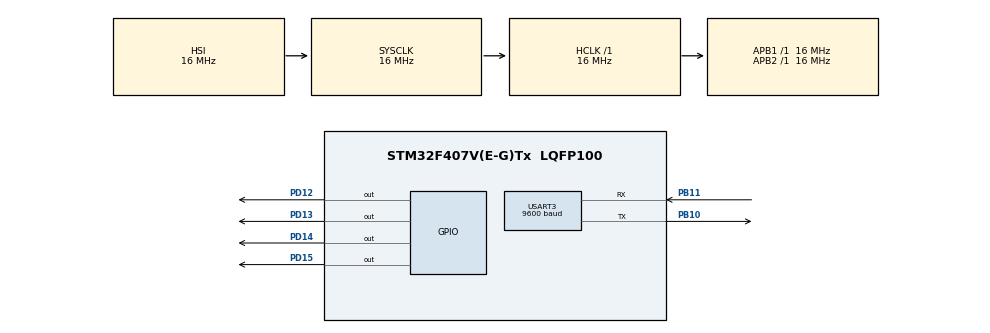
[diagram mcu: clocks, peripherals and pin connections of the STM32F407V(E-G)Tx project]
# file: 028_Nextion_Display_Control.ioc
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Mcu.Family=STM32F4
Mcu.Name=STM32F407V(E-G)Tx
Mcu.Package=LQFP100
NVIC.PriorityGroup=NVIC_PRIORITYGROUP_4
NVIC.TIM1_UP_TIM10_IRQn=true\:0\:0\:false\:false\:true\:true\:true\:true
NVIC.USART3_IRQn=true\:0\:0\:false\:false\:true\:true\:true\:true
PB10.Mode=Asynchronous
PB10.Signal=USART3_TX
PB11.Mode=Asynchronous
PB11.Signal=USART3_RX
PD12.Signal=GPIO_Output
PD13.Signal=GPIO_Output
PD14.Signal=GPIO_Output
PD15.Signal=GPIO_Output
ProjectManager.HeapSize=0x200
ProjectManager.StackSize=0x400
ProjectManager.TargetToolchain=STM32CubeIDE
RCC.AHBFreq_Value=16000000
RCC.APB1Freq_Value=16000000
RCC.APB2Freq_Value=16000000
RCC.CortexFreq_Value=16000000
RCC.HSE_VALUE=25000000
RCC.HSI_VALUE=16000000
RCC.LSE_VALUE=32768
RCC.SYSCLKFreq_VALUE=16000000
RCC.VCOOutputFreq_Value=192000000
TIM10.Period=999
TIM10.Prescaler=15
USART3.BaudRate=9600
USART3.VirtualMode=VM_ASYNC
VP_TIM10_VS_ClockSourceINT.Mode=Enable_Timer
board=custom

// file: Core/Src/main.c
/* USER CODE BEGIN Header */
/**
  ******************************************************************************
  * @file           : main.c
  * @brief          : Main program body
  ******************************************************************************
  * @attention
  *
  * Copyright (c) 2026 STMicroelectronics.
  * All rights reserved.
  *
  * This software is licensed under terms that can be found in the LICENSE file
  * in the root directory of this software component.
  * If no LICENSE file comes with this software, it is provided AS-IS.
  *
  ******************************************************************************
  */
/* USER CODE END Header */
#include "main.h"

/* USER CODE BEGIN Includes */
#include "software_timer.h"
#include "uart_ex.h"
#include "nextion_display_control.h"
/* USER CODE END Includes */

TIM_HandleTypeDef htim10;

UART_HandleTypeDef huart3;

/* USER CODE BEGIN PV */
UART_Ex_t uart3;
Circular_Buffer_t uartCbIn;
Circular_Buffer_t uartCbOut;

STimer_t sTime_1s;
uint8_t sec, min, hour;

Nextion_t nextionDisplay;

/* USER CODE END PV */

void SystemClock_Config(void);
static void MX_GPIO_Init(void);
static void MX_TIM10_Init(void);
static void MX_USART3_UART_Init(void);

int main(void)
{

  /* MCU Configuration--------------------------------------------------------*/

  /* Reset of all peripherals, Initializes the Flash interface and the Systick. */
  HAL_Init();

  /* Configure the system clock */
  SystemClock_Config();

  /* Initialize all configured peripherals */
  MX_GPIO_Init();
  MX_TIM10_Init();
  MX_USART3_UART_Init();
  /* USER CODE BEGIN 2 */
  Software_Timer_Init(&htim10);
  Software_Timer_Set_Time(&sTime_1s, 1000);

  UARTx_Initialization(&uart3, &huart3, &uartCbIn, &uartCbOut);

  Nextion_Init(&nextionDisplay, &uart3);

  Nextion_Send_String(&nextionDisplay, "g0", "BTK Akademiye bu egitim icin tesekkur ederiz!...");

  /* USER CODE END 2 */

  /* Infinite loop */
  while (1)
  {

    /* USER CODE BEGIN 3 */

	  Nextion_Process(&nextionDisplay);

	  if(nextionDisplay.newData)
	  {
		  static uint8_t ledState = 0;

		  if(nextionDisplay.touchEvent.eventType == 1)  // Push / Press
		  {
			  switch(nextionDisplay.touchEvent.componentID)
			  {
			  case 2: // Button 1
				  HAL_GPIO_TogglePin(GPIOD, GPIO_PIN_12);

				  if(HAL_GPIO_ReadPin(GPIOD, GPIO_PIN_12))
					  ledState |= 1 << 0;
				  else
					  ledState &= ~(1 << 0);

				break;

				// __ __ __ __ __ __ __ __
				// 0  0  0  0  4  3  2  1

			  case 3: // Button 2
				  HAL_GPIO_TogglePin(GPIOD, GPIO_PIN_13);

				  if(HAL_GPIO_ReadPin(GPIOD, GPIO_PIN_13))
					  ledState |= 1 << 1;
				  else
					  ledState &= ~(1 << 1);

				break;

			  case 4: // Button 3
				  HAL_GPIO_TogglePin(GPIOD, GPIO_PIN_14);

				  if(HAL_GPIO_ReadPin(GPIOD, GPIO_PIN_14))
					  ledState |= 1 << 2;
				  else
					  ledState &= ~(1 << 2);

				break;

			  case 5: // Button 4
				  HAL_GPIO_TogglePin(GPIOD, GPIO_PIN_15);

				  if(HAL_GPIO_ReadPin(GPIOD, GPIO_PIN_15))
					  ledState |= 1 << 3;
				  else
					  ledState &= ~(1 << 3);

				break;
			  }
		  }

		  Nextion_Send_Value(&nextionDisplay, "va0", (ledState & 0x0F));

		  nextionDisplay.newData = false;
	  }

	  if(Software_Timer_Check_Elapsed_Time(&sTime_1s))
	  {
		  sec++;
		  if(sec >= 60)
		  {
			  sec = 0;
			  min++;

			  if(min>= 60)
			  {
				  min = 0;
				  hour++;
			  }
		  }

		  Nextion_Send_Value(&nextionDisplay, "n2", sec);
		  Nextion_Send_Value(&nextionDisplay, "n1", min);
		  Nextion_Send_Value(&nextionDisplay, "n0", hour);
		  Software_Timer_Set_Time(&sTime_1s, 1000);
	  }
  }
  /* USER CODE END 3 */
}

void SystemClock_Config(void)
{
  RCC_OscInitTypeDef RCC_OscInitStruct = {0};
  RCC_ClkInitTypeDef RCC_ClkInitStruct = {0};

  /** Configure the main internal regulator output voltage
  */
  __HAL_RCC_PWR_CLK_ENABLE();
  __HAL_PWR_VOLTAGESCALING_CONFIG(PWR_REGULATOR_VOLTAGE_SCALE1);

  /** Initializes the RCC Oscillators according to the specified parameters
  * in the RCC_OscInitTypeDef structure.
  */
  RCC_OscInitStruct.OscillatorType = RCC_OSCILLATORTYPE_HSI;
  RCC_OscInitStruct.HSIState = RCC_HSI_ON;
  RCC_OscInitStruct.HSICalibrationValue = RCC_HSICALIBRATION_DEFAULT;
  RCC_OscInitStruct.PLL.PLLState = RCC_PLL_NONE;
  if (HAL_RCC_OscConfig(&RCC_OscInitStruct) != HAL_OK)
  {
    Error_Handler();
  }

  /** Initializes the CPU, AHB and APB buses clocks
  */
  RCC_ClkInitStruct.ClockType = RCC_CLOCKTYPE_HCLK|RCC_CLOCKTYPE_SYSCLK
                              |RCC_CLOCKTYPE_PCLK1|RCC_CLOCKTYPE_PCLK2;
  RCC_ClkInitStruct.SYSCLKSource = RCC_SYSCLKSOURCE_HSI;
  RCC_ClkInitStruct.AHBCLKDivider = RCC_SYSCLK_DIV1;
  RCC_ClkInitStruct.APB1CLKDivider = RCC_HCLK_DIV1;
  RCC_ClkInitStruct.APB2CLKDivider = RCC_HCLK_DIV1;

  if (HAL_RCC_ClockConfig(&RCC_ClkInitStruct, FLASH_LATENCY_0) != HAL_OK)
  {
    Error_Handler();
  }
}

static void MX_TIM10_Init(void)
{

  htim10.Instance = TIM10;
  htim10.Init.Prescaler = 15;
  htim10.Init.CounterMode = TIM_COUNTERMODE_UP;
  htim10.Init.Period = 999;
  htim10.Init.ClockDivision = TIM_CLOCKDIVISION_DIV1;
  htim10.Init.AutoReloadPreload = TIM_AUTORELOAD_PRELOAD_DISABLE;
  if (HAL_TIM_Base_Init(&htim10) != HAL_OK)
  {
    Error_Handler();
  }

}

static void MX_USART3_UART_Init(void)
{

  huart3.Instance = USART3;
  huart3.Init.BaudRate = 9600;
  huart3.Init.WordLength = UART_WORDLENGTH_8B;
  huart3.Init.StopBits = UART_STOPBITS_1;
  huart3.Init.Parity = UART_PARITY_NONE;
  huart3.Init.Mode = UART_MODE_TX_RX;
  huart3.Init.HwFlowCtl = UART_HWCONTROL_NONE;
  huart3.Init.OverSampling = UART_OVERSAMPLING_16;
  if (HAL_UART_Init(&huart3) != HAL_OK)
  {
    Error_Handler();
  }

}

static void MX_GPIO_Init(void)
{
  GPIO_InitTypeDef GPIO_InitStruct = {0};

  /* GPIO Ports Clock Enable */
  __HAL_RCC_GPIOB_CLK_ENABLE();
  __HAL_RCC_GPIOD_CLK_ENABLE();

  /*Configure GPIO pin Output Level */
  HAL_GPIO_WritePin(GPIOD, GPIO_PIN_12|GPIO_PIN_13|GPIO_PIN_14|GPIO_PIN_15, GPIO_PIN_RESET);

  /*Configure GPIO pins : PD12 PD13 PD14 PD15 */
  GPIO_InitStruct.Pin = GPIO_PIN_12|GPIO_PIN_13|GPIO_PIN_14|GPIO_PIN_15;
  GPIO_InitStruct.Mode = GPIO_MODE_OUTPUT_PP;
  GPIO_InitStruct.Pull = GPIO_NOPULL;
  GPIO_InitStruct.Speed = GPIO_SPEED_FREQ_LOW;
  HAL_GPIO_Init(GPIOD, &GPIO_InitStruct);

}

void Error_Handler(void)
{
  __disable_irq();
  while (1)
  {
  }
}
